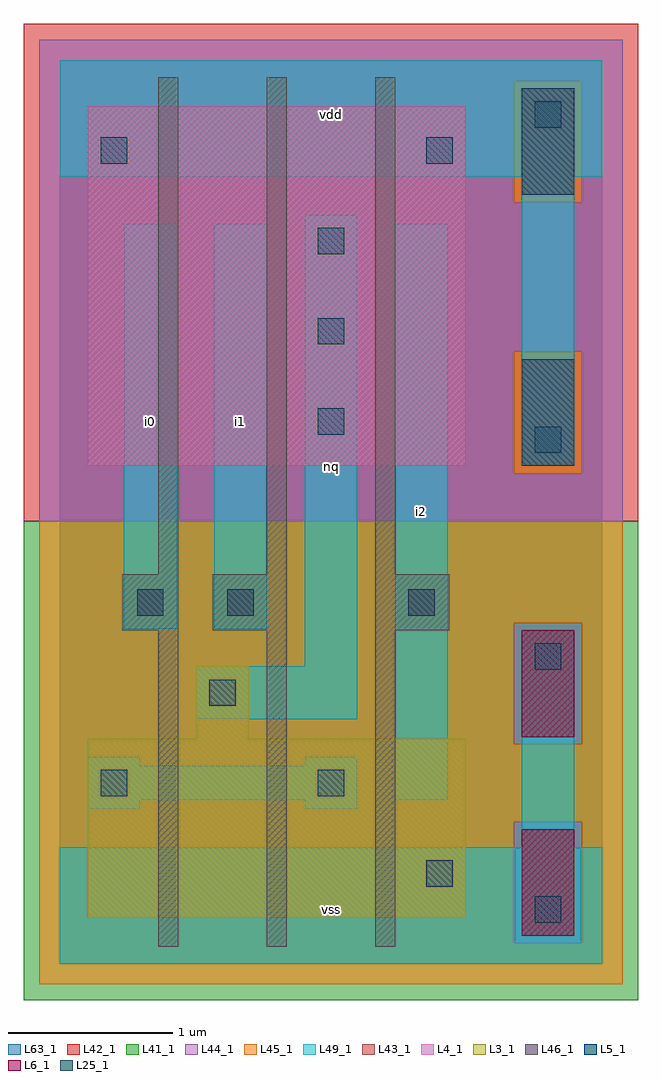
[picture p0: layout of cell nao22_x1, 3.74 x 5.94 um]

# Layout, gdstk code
import gdstk
lib = gdstk.Library(unit=1e-6, precision=1e-09)
def R(c, l, rs):  # rectangles x0, y0, x1, y1
    for r in rs: c.add(gdstk.rectangle(r[:2], r[2:], *l))
def A(c, l, x, y, w, h, nx, ny, dx, dy):  # array of equal rectangles
    R(c, l, [(x+i*dx, y+j*dy, x+i*dx+w, y+j*dy+h) for i in range(nx) for j in range(ny)])
L3_1 = (3, 1)
L4_1 = (4, 1)
L5_1 = (5, 1)
L6_1 = (6, 1)
L25_1 = (25, 1)
L41_1 = (41, 1)
L42_1 = (42, 1)
L43_1 = (43, 1)
L44_1 = (44, 1)
L45_1 = (45, 1)
L46_1 = (46, 1)
L49_1 = (49, 1)
L63_1 = (63, 1)

nao22_x1 = lib.new_cell('nao22_x1')
R(nao22_x1, L3_1, [(0.17,0.28,2.47,1.37), (0.83,1.37,1.15,1.81)])
R(nao22_x1, L4_1, [(0.17,3.03,2.47,5.22)])
R(nao22_x1, L5_1, [(2.81,3.03,3.13,3.68), (2.81,4.68,3.13,5.33)])
R(nao22_x1, L6_1, [(2.81,0.17,3.13,0.82), (2.81,1.38,3.13,2.03)])
A(nao22_x1, L25_1, 1.57, 3.22, 0.16, 0.16, 1, 3, 0, 0.55)
R(nao22_x1, L25_1, [(2.89,0.25,3.05,0.41), (2.23,0.47,2.39,0.63), (0.25,1.02,0.41,1.18), (1.57,1.02,1.73,1.18), (0.91,1.57,1.07,1.73), (2.89,1.79,3.05,1.95), (0.47,2.12,0.63,2.28), (1.02,2.12,1.18,2.28), (2.12,2.12,2.28,2.28), (2.89,3.11,3.05,3.27), (0.25,4.87,0.41,5.03), (2.23,4.87,2.39,5.03), (2.89,5.09,3.05,5.25)])
R(nao22_x1, L41_1, [(-0.22,-0.22,3.52,2.695)])
R(nao22_x1, L42_1, [(-0.22,2.695,3.52,5.72)])
A(nao22_x1, L43_1, 2.81, 1.38, 0.32, 0.65, 1, 3, 0, 1.65)
R(nao22_x1, L43_1, [(2.81,0.17,3.13,0.82), (0.17,0.28,2.47,1.37), (0.83,1.37,1.15,1.81), (0.17,3.03,2.47,5.22)])
R(nao22_x1, L44_1, [(2.765,0.125,3.175,0.865), (2.765,1.335,3.175,2.075), (-0.125,2.695,3.425,2.985), (-0.125,2.985,2.765,3.725), (3.175,2.985,3.425,3.725), (-0.125,3.725,3.425,4.635), (-0.125,4.635,2.765,5.375), (3.175,4.635,3.425,5.375), (-0.125,5.375,3.425,5.625)])
R(nao22_x1, L45_1, [(-0.125,-0.125,3.425,0.125), (-0.125,0.125,2.765,0.865), (3.175,0.125,3.425,0.865), (-0.125,0.865,3.425,1.335), (-0.125,1.335,2.765,2.075), (3.175,1.335,3.425,2.075), (-0.125,2.075,3.425,2.695), (2.765,2.985,3.175,3.725), (2.765,4.635,3.175,5.375)])
A(nao22_x1, L46_1, 0.6, 0.105, 0.12, 1.925, 3, 1, 0.66, 0)
A(nao22_x1, L46_1, 0.6, 2.37, 0.12, 3.025, 3, 1, 0.66, 0)
R(nao22_x1, L46_1, [(0.38,2.03,0.72,2.37), (0.93,2.03,1.38,2.37), (1.92,2.03,2.37,2.37)])
R(nao22_x1, L49_1, [(0,0,3.3,0.71), (2.81,0.71,3.13,2.03), (0.17,0.94,0.49,0.995), (1.49,0.94,1.81,0.995), (0.17,0.995,1.81,1.205), (2.04,0.995,2.36,4.505), (0.17,1.205,0.49,1.26), (1.49,1.205,1.81,1.26), (0.83,1.49,1.81,1.81), (1.49,1.81,1.81,4.56), (0.39,2.04,0.71,4.505), (0.94,2.04,1.26,4.505), (2.81,3.03,3.13,4.79), (0,4.79,3.3,5.5)])
R(nao22_x1, L63_1, [(0,0,3.3,5.5)])
nao22_x1.add(gdstk.Label('i0', (0.55,3.3), layer=49, texttype=1))
nao22_x1.add(gdstk.Label('i0', (0.55,3.3), layer=49, texttype=1))
nao22_x1.add(gdstk.Label('i1', (1.1,3.3), layer=49, texttype=1))
nao22_x1.add(gdstk.Label('i1', (1.1,3.3), layer=49, texttype=1))
nao22_x1.add(gdstk.Label('vss', (1.65,0.33), layer=49, texttype=1))
nao22_x1.add(gdstk.Label('vss', (1.65,0.33), layer=49, texttype=1))
nao22_x1.add(gdstk.Label('i2', (2.2,2.75), layer=49, texttype=1))
nao22_x1.add(gdstk.Label('i2', (2.2,2.75), layer=49, texttype=1))
nao22_x1.add(gdstk.Label('nq', (1.65,3.025), layer=49, texttype=1))
nao22_x1.add(gdstk.Label('nq', (1.65,3.025), layer=49, texttype=1))
nao22_x1.add(gdstk.Label('vdd', (1.65,5.17), layer=49, texttype=1))
nao22_x1.add(gdstk.Label('vdd', (1.65,5.17), layer=49, texttype=1))

lib.write_gds('nao22_x1.gds')
